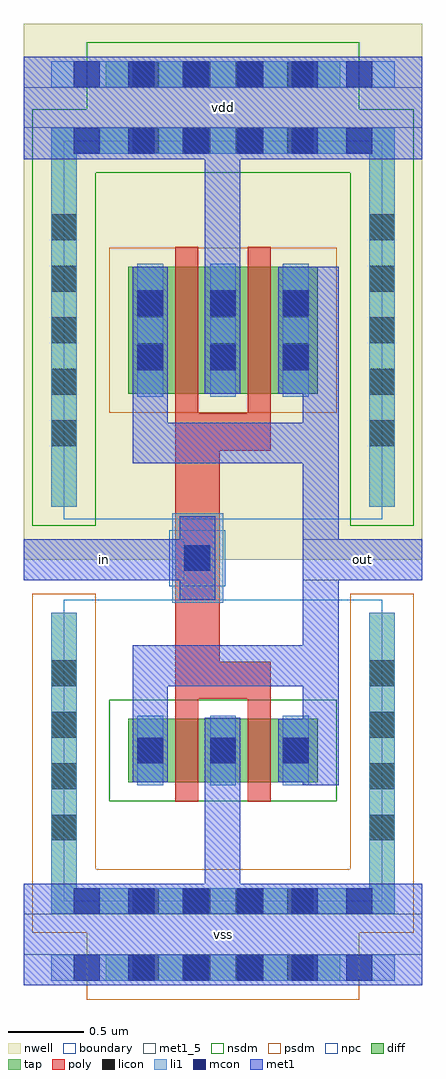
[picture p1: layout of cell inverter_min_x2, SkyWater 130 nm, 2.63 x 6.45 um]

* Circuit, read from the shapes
.subckt inverter_min_x2 in out vdd vss
XM1 vss in out vss sky130_fd_pr__nfet_01v8 w=0.42 l=0.15 m=2
XM2 vdd in out vdd sky130_fd_pr__pfet_01v8 w=0.84 l=0.15 m=2
.ends

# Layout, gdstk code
import gdstk
lib = gdstk.Library(unit=1e-6, precision=1e-09)
def R(c, l, rs):  # rectangles x0, y0, x1, y1
    for r in rs: c.add(gdstk.rectangle(r[:2], r[2:], *l))
def A(c, l, x, y, w, h, nx, ny, dx, dy):  # array of equal rectangles
    R(c, l, [(x+i*dx, y+j*dy, x+i*dx+w, y+j*dy+h) for i in range(nx) for j in range(ny)])
nwell = (64, 20)
diff = (65, 20)
tap = (65, 44)
poly = (66, 20)
licon = (66, 44)
li1 = (67, 20)
mcon = (67, 44)
met1_5 = (68, 5)
met1 = (68, 20)
nsdm = (93, 44)
psdm = (94, 20)
npc = (95, 20)
boundary = (235, 4)

sky130_fd_pr__nfet_01v8_ = lib.new_cell('sky130_fd_pr__nfet_01v8_5RJ8EK')
R(sky130_fd_pr__nfet_01v8_, diff, [(-0.625,-0.21,0.625,0.21)])
R(sky130_fd_pr__nfet_01v8_, tap, [(-1.135,-1.08,1.135,-0.91), (-1.135,-0.91,-0.965,0.91), (0.965,-0.91,1.135,0.91)])
R(sky130_fd_pr__nfet_01v8_, poly, [(-0.315,-0.34,-0.165,0.34), (0.165,-0.34,0.315,0.34)])
A(sky130_fd_pr__nfet_01v8_, licon, -0.595, -1.08, 0.17, 0.17, 4, 1, 0.34, 0)
A(sky130_fd_pr__nfet_01v8_, licon, -1.135, -0.595, 0.17, 0.17, 1, 4, 0, 0.34)
A(sky130_fd_pr__nfet_01v8_, licon, 0.965, -0.595, 0.17, 0.17, 1, 4, 0, 0.34)
A(sky130_fd_pr__nfet_01v8_, licon, -0.565, -0.085, 0.17, 0.17, 3, 1, 0.48, 0)
A(sky130_fd_pr__nfet_01v8_, li1, -0.565, -0.23, 0.17, 0.46, 3, 1, 0.48, 0)
R(sky130_fd_pr__nfet_01v8_, li1, [(-1.135,-1.08,1.135,-0.91), (-1.135,-0.91,-0.965,0.91), (0.965,-0.91,1.135,0.91)])
A(sky130_fd_pr__nfet_01v8_, mcon, -0.565, -0.085, 0.17, 0.17, 3, 1, 0.48, 0)
A(sky130_fd_pr__nfet_01v8_, met1, -0.595, -0.21, 0.23, 0.42, 3, 1, 0.48, 0)
R(sky130_fd_pr__nfet_01v8_, nsdm, [(-0.75,-0.335,0.75,0.335)])
R(sky130_fd_pr__nfet_01v8_, psdm, [(-1.26,-1.205,1.26,-0.785), (-1.26,-0.785,-0.84,1.035), (0.84,-0.785,1.26,1.035)])
R(sky130_fd_pr__nfet_01v8_, boundary, [(-1.05,-0.995,1.05,0.995)])

sky130_fd_pr__pfet_01v8_ = lib.new_cell('sky130_fd_pr__pfet_01v8_ZPB9BB')
R(sky130_fd_pr__pfet_01v8_, nwell, [(-1.315,-1.515,1.315,1.515)])
R(sky130_fd_pr__pfet_01v8_, diff, [(-0.625,-0.42,0.625,0.42)])
R(sky130_fd_pr__pfet_01v8_, tap, [(-1.135,-1.165,-0.965,1.165), (0.965,-1.165,1.135,1.165), (-1.135,1.165,1.135,1.335)])
R(sky130_fd_pr__pfet_01v8_, poly, [(-0.315,-0.55,-0.165,0.55), (0.165,-0.55,0.315,0.55)])
A(sky130_fd_pr__pfet_01v8_, licon, -1.135, -0.765, 0.17, 0.17, 1, 5, 0, 0.34)
A(sky130_fd_pr__pfet_01v8_, licon, 0.965, -0.765, 0.17, 0.17, 1, 5, 0, 0.34)
A(sky130_fd_pr__pfet_01v8_, licon, -0.565, -0.255, 0.17, 0.17, 3, 2, 0.48, 0.34)
A(sky130_fd_pr__pfet_01v8_, licon, -0.595, 1.165, 0.17, 0.17, 4, 1, 0.34, 0)
A(sky130_fd_pr__pfet_01v8_, li1, -0.565, -0.44, 0.17, 0.88, 3, 1, 0.48, 0)
R(sky130_fd_pr__pfet_01v8_, li1, [(-1.135,-1.165,-0.965,1.165), (0.965,-1.165,1.135,1.165), (-1.135,1.165,1.135,1.335)])
A(sky130_fd_pr__pfet_01v8_, mcon, -0.565, -0.265, 0.17, 0.17, 3, 2, 0.48, 0.36)
A(sky130_fd_pr__pfet_01v8_, met1, -0.595, -0.42, 0.23, 0.84, 3, 1, 0.48, 0)
R(sky130_fd_pr__pfet_01v8_, nsdm, [(-1.26,-1.29,-0.84,1.04), (0.84,-1.29,1.26,1.04), (-1.26,1.04,1.26,1.46)])
R(sky130_fd_pr__pfet_01v8_, psdm, [(-0.75,-0.545,0.75,0.545)])
R(sky130_fd_pr__pfet_01v8_, boundary, [(-1.05,-1.25,1.05,1.25)])

inverter_min_x2 = lib.new_cell('inverter_min_x2')
R(inverter_min_x2, nwell, [(0.145,2.695,1.855,2.715), (0.12,2.715,1.925,2.755), (-0.265,2.755,2.365,3.275)])
R(inverter_min_x2, tap, [(0.275,-3.045,1.825,-2.875), (0.275,2.855,1.825,3.025)])
R(inverter_min_x2, poly, [(0.735,-1.185,1.365,-0.94), (0.735,-0.94,1.03,0.455), (0.735,0.455,1.365,0.7)])
A(inverter_min_x2, licon, 0.455, -3.045, 0.17, 0.17, 4, 2, 0.34, 5.9)
R(inverter_min_x2, licon, [(0.795,-0.34,0.965,-0.17)])
R(inverter_min_x2, li1, [(-0.085,-3.045,2.185,-2.875), (-0.085,-2.605,2.185,-2.435), (0.715,-0.55,1.05,0.04), (-0.085,2.415,2.185,2.585), (-0.085,2.855,2.185,3.025)])
A(inverter_min_x2, mcon, 0.065, -3.045, 0.17, 0.17, 6, 2, 0.36, 0.44)
A(inverter_min_x2, mcon, 0.065, 2.415, 0.17, 0.17, 6, 2, 0.36, 0.44)
R(inverter_min_x2, mcon, [(0.795,-0.34,0.965,-0.17)])
R(inverter_min_x2, met1_5, [(-0.265,-2.875,2.365,-2.605), (-0.265,-0.4,0.795,-0.13), (1.575,-0.4,2.365,-0.13), (-0.265,2.585,2.365,2.855)])
R(inverter_min_x2, met1, [(-0.265,-3.075,2.365,-2.405), (0.93,-2.405,1.165,-1.31), (1.575,-1.755,1.815,-1.1), (0.455,-1.735,0.685,-1.1), (0.455,-1.1,1.815,-0.83), (1.575,-0.83,1.815,-0.4), (0.765,-0.53,1,-0.4), (-0.265,-0.4,1,-0.13), (1.575,-0.4,2.365,-0.13), (0.765,-0.13,1,0.02), (1.575,-0.13,1.815,0.37), (0.455,0.37,1.815,0.64), (0.455,0.64,0.685,1.67), (1.575,0.64,1.815,1.67), (0.93,0.83,1.165,2.38), (-0.265,2.38,2.365,3.055)])
R(inverter_min_x2, nsdm, [(0.15,2.71,1.95,3.15)])
R(inverter_min_x2, psdm, [(0.15,-3.17,1.95,-2.73)])
R(inverter_min_x2, npc, [(0.695,-0.44,1.065,-0.07)])
inverter_min_x2.add(gdstk.Reference(sky130_fd_pr__nfet_01v8_, (1.05,-1.525)))
inverter_min_x2.add(gdstk.Reference(sky130_fd_pr__pfet_01v8_, (1.05,1.25)))
inverter_min_x2.add(gdstk.Label('in', (0.265,-0.265), layer=68, texttype=5))
inverter_min_x2.add(gdstk.Label('out', (1.97,-0.265), layer=68, texttype=5))
inverter_min_x2.add(gdstk.Label('vdd', (1.05,2.72), layer=68, texttype=5))
inverter_min_x2.add(gdstk.Label('vss', (1.05,-2.74), layer=68, texttype=5))

lib.write_gds('inverter_min_x2.gds')
